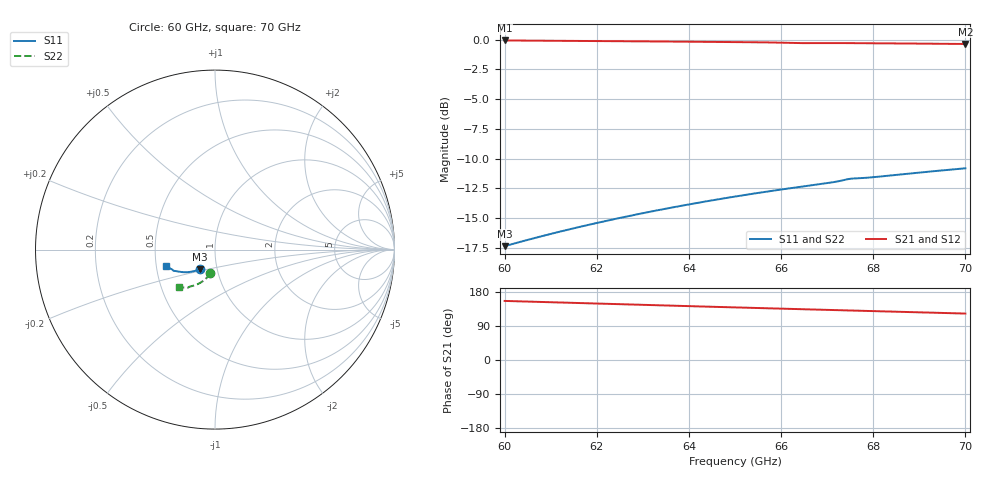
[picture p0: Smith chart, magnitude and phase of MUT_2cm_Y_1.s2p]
! TOUCHSTONE file generated by CST MICROWAVE STUDIO
! Date and time: Tue Feb 27 23:06:28 2024
! Project name: material_angular.cst
! Parameters = {Yi=1; iiii=5; exis2=5; exis=5; X=5; Z=5; Y=2}
! Header version: 2018
! Port assignment regex: !\s*Touchstone port\s*([0-9]+)\s*=\s*(CST MWS port|CST DS port)\s*([0-9]+|Zmin|Zmax)\s*\(\"(.*)\"\)(\s*mode\s*([0-9]+))?.*
! Touchstone port assignment:
! Touchstone port 1 = CST MWS port 1 ("")
! Touchstone port 2 = CST MWS port 2 ("")
# GHz S MA R 376.7
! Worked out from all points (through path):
!   1001 points, 60 GHz to 70 GHz, reference 376.7 ohm
!   highest |S21| = -0.08 dB at 60 GHz (marker M1); lowest = -0.4 dB at 70 GHz (marker M2)
!   group delay of S21, straight-line fit = 9.27 ps
!   lowest |S11| = -17.4 dB at 60 GHz (marker M3), VSWR 1.31, Z = 312 - j68.5 ohm
!   |S11| at or under -10 dB: start of sweep to end of sweep
!   |S22| runs from -17.4 to -10.8 dB; largest |S21 - S12| = 0.002
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60  0.1357 -127.5  0.9908 155.9  0.9909 155.9  0.1356 -100.9
60.05  0.1365 -127.7  0.9907 155.7  0.9907 155.7  0.1364 -101.0
60.9  0.151 -130.8  0.9884 152.8  0.9886 152.8  0.1509 -103.8
61.67  0.1641 -133.5  0.9862 150.1  0.9865 150.2  0.164 -106.3
62.49  0.178 -136.4  0.9838 147.3  0.9842 147.3  0.178 -109.0
63.34  0.1923 -139.4  0.9812 144.4  0.9816 144.4  0.1922 -111.9
64.16  0.2057 -142.2  0.9786 141.6  0.9789 141.6  0.2057 -114.6
65  0.2192 -145.1  0.9757 138.7  0.9757 138.7  0.2191 -117.5
65.5  0.2269 -146.7  0.9736 137.0  0.9731 137.0  0.2269 -119.2
65.9  0.233 -148.1  0.9709 135.6  0.9704 135.7  0.233 -120.6
66.28  0.2387 -149.3  0.9667 134.4  0.9679 134.5  0.2389 -122.0
66.48  0.2417 -149.9  0.9655 133.9  0.9672 133.9  0.242 -122.8
66.67  0.2445 -150.5  0.9657 133.3  0.9668 133.3  0.2453 -123.5
67.04  0.2502 -151.6  0.9661 132.1  0.9664 132.1  0.2533 -124.8
67.27  0.2546 -152.1  0.966 131.4  0.966 131.4  0.2578 -125.1
67.4  0.258 -152.7  0.9658 131.0  0.9658 131.0  0.2593 -125.2
67.52  0.2604 -153.4  0.9655 130.6  0.9655 130.6  0.2603 -125.5
67.77  0.2621 -154.7  0.9649 129.7  0.9649 129.7  0.2626 -126.2
68.34  0.2682 -156.4  0.9633 127.9  0.9632 127.9  0.2689 -128.1
69.22  0.2789 -159.1  0.9604 125.0  0.9603 125.0  0.2793 -130.9
69.95  0.2874 -161.3  0.9579 122.7  0.9577 122.7  0.2875 -133.2
70  0.288 -161.5  0.9577 122.6  0.9575 122.6  0.2881 -133.4
